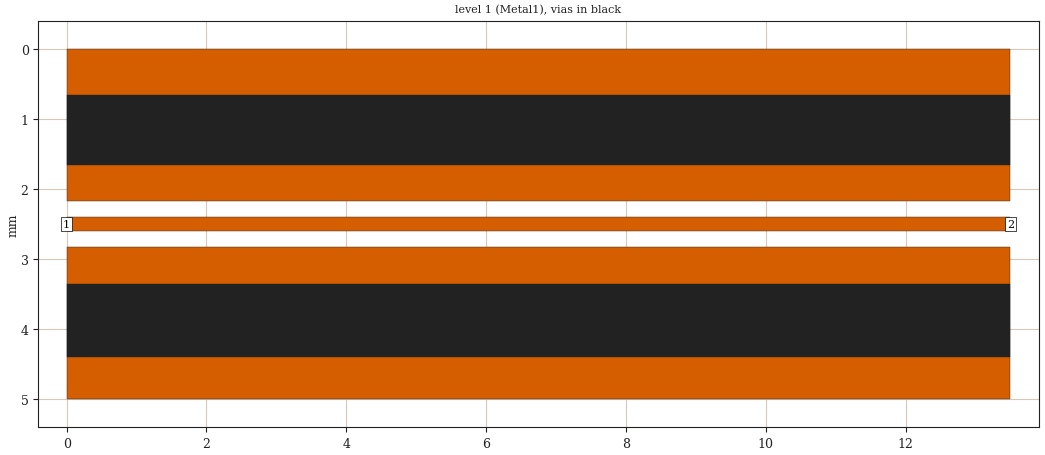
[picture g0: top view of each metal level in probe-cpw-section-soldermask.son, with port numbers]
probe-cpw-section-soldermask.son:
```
FTYP SONPROJ 18 ! Sonnet Project File
VER 17.56
HEADER
LIC antikernel2.1.48685 3cfdfeabd719 havequick azonenberg Level2Basic
DAT 11/23/2020 06:36:27
BUILT_BY_CREATED xgeom 16.56 07/03/2018 15:05:41
BUILT_BY_SAVED sonnet 17.56
MDATE 11/23/2020 06:36:27
HDATE 11/23/2020 06:36:27
END HEADER
DIM
ANG DEG
CAP PF
CON /OH
FREQ GHZ
IND NH
LNG MM
RES OH
END DIM
CONTROL
VARSWP
OPTIONS  -dj
SPEED 1
CACHE_ABS 1
Q_ACC N
END CONTROL
GEO
SYM
TMET "Free Space" 0 FREESPACE 376.7303136 0 0 0
BMET "Copper 1oz thin" 1 NOR 58000000 0.5 0.035 
MET "Silver" 1 TMM 61700000 0.5 0.035 3
MET "Copper 1oz thick" 2 TMM 58000000 0.5 0.035 3
BOX 2 13.5 5 216 800 20 0
      1 1 1 0 0 0 0 "Air"
      0.04 3.4 1 0.025 0 0 0 "Soldermask"
      0.102 3.2 1 0.002 0 0 0 "Panasonic F775"
TECHLAY METAL Metal1 <UNSPECIFIED> -2 0 
1 0 1 N 957 1 1 100 100 0 0 0 Y
END
END
DIM STD YDIR -1
POS -0.3256573327 -1.084628238
NOM 0.2
REF1 POLY 939 1
3
REF2 POLY 939 1
0
END
DIM STD YDIR -1
POS -0.04296321145 -0.7611463874
NOM 0.225
REF1 POLY 939 1
0
REF2 POLY 942 1
3
END
DIM STD YDIR -1
POS -0.2098150988 -0.4209235475
NOM 0.225
REF1 POLY 943 1
0
REF2 POLY 939 1
3
END
LORGN 0 250 U 
POR1 BOX
POLY 939 1
1
2 50 0 0 0 13.5 2.5 
POR1 BOX
POLY 939 1
3
1 50 0 0 0 0 2.5 
NUM 5
1 5 1 N 939 1 1 100 100 0 0 0 Y
TLAYNAM Metal1 INH
0 2.4
13.5 2.4
13.5 2.6
0 2.6
0 2.4
END
1 5 1 N 942 1 1 100 100 0 0 0 Y
TLAYNAM Metal1 INH
0 0
13.5 0
13.5 2.175
0 2.175
0 0
END
1 5 1 N 943 1 1 100 100 0 0 0 Y
TLAYNAM Metal1 INH
0 2.825
13.5 2.825
13.5 5
0 5
0 2.825
END
VIA POLYGON
1 5 -1 N 944 1 1 100 100 0 0 0 Y
TOLEVEL 2 RING NOCOVERS
0 0.65
13.5 0.65
13.5 1.65
0 1.65
0 0.65
END
VIA POLYGON
1 5 -1 N 945 1 1 100 100 0 0 0 Y
TOLEVEL 2 RING NOCOVERS
0 3.35
13.5 3.35
13.5 4.4
0 4.4
0 3.35
END
END GEO
OPT
MAX 100
END OPT
VARSWP
ENABLED Y
FREQ Y AY ABS_ENTRY 0.1 6.0 -1 300 
END
END VARSWP
FILEOUT
FOLDER .
END FILEOUT
```
